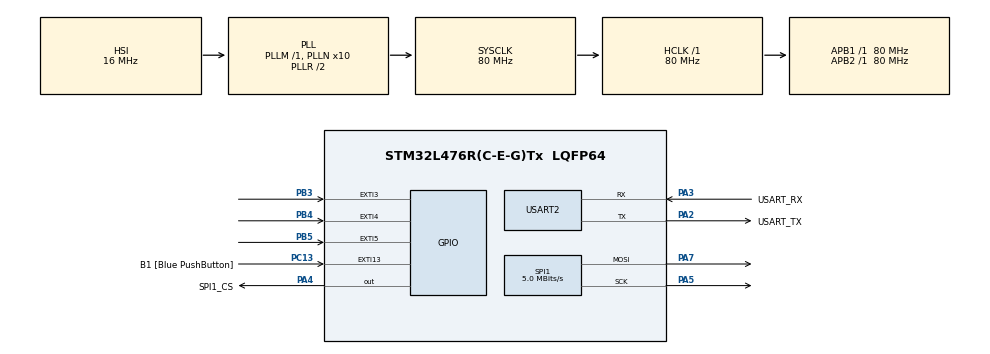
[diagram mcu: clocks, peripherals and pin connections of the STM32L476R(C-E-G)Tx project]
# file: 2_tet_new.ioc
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FREERTOS.Tasks01=defaultTask,24,128,StartDefaultTask,Default,NULL,Dynamic,NULL,NULL
FREERTOS.configTOTAL_HEAP_SIZE=32000
Mcu.Family=STM32L4
Mcu.Name=STM32L476R(C-E-G)Tx
Mcu.Package=LQFP64
NVIC.EXTI3_IRQn=true\:5\:0\:false\:false\:true\:true\:true\:false\:true
NVIC.EXTI4_IRQn=true\:5\:0\:false\:false\:true\:true\:true\:false\:true
NVIC.EXTI9_5_IRQn=true\:5\:0\:false\:false\:true\:true\:true\:false\:true
NVIC.PriorityGroup=NVIC_PRIORITYGROUP_4
NVIC.TIM7_IRQn=true\:15\:0\:false\:false\:true\:false\:false\:true\:true
NVIC.TimeBase=TIM7_IRQn
NVIC.TimeBaseIP=TIM7
PA13\ (JTMS-SWDIO).GPIO_Label=TMS
PA13\ (JTMS-SWDIO).Mode=Serial_Wire
PA13\ (JTMS-SWDIO).Signal=SYS_JTMS-SWDIO
PA14\ (JTCK-SWCLK).GPIO_Label=TCK
PA14\ (JTCK-SWCLK).Mode=Serial_Wire
PA14\ (JTCK-SWCLK).Signal=SYS_JTCK-SWCLK
PA2.GPIO_Label=USART_TX
PA2.GPIO_Mode=GPIO_MODE_AF_PP
PA2.GPIO_PuPd=GPIO_NOPULL
PA2.GPIO_Speed=GPIO_SPEED_FREQ_VERY_HIGH
PA2.Mode=Asynchronous
PA2.Signal=USART2_TX
PA3.GPIO_Label=USART_RX
PA3.GPIO_Mode=GPIO_MODE_AF_PP
PA3.GPIO_PuPd=GPIO_NOPULL
PA3.GPIO_Speed=GPIO_SPEED_FREQ_VERY_HIGH
PA3.Mode=Asynchronous
PA3.Signal=USART2_RX
PA4.GPIO_Label=SPI1_CS
PA4.Signal=GPIO_Output
PA5.Mode=TX_Only_Simplex_Unidirect_Master
PA5.Signal=SPI1_SCK
PA7.Mode=TX_Only_Simplex_Unidirect_Master
PA7.Signal=SPI1_MOSI
PB3\ (JTDO-TRACESWO).Signal=GPXTI3
PB4\ (NJTRST).Signal=GPXTI4
PB5.Signal=GPXTI5
PC13.GPIO_Label=B1 [Blue PushButton]
PC13.GPIO_ModeDefaultEXTI=GPIO_MODE_IT_FALLING
PC13.GPIO_PuPd=GPIO_NOPULL
PC13.Signal=GPXTI13
PC14-OSC32_IN\ (PC14).Mode=LSE-External-Oscillator
PC14-OSC32_IN\ (PC14).Signal=RCC_OSC32_IN
PC15-OSC32_OUT\ (PC15).Mode=LSE-External-Oscillator
PC15-OSC32_OUT\ (PC15).Signal=RCC_OSC32_OUT
PH0-OSC_IN\ (PH0).Signal=RCC_OSC_IN
PH1-OSC_OUT\ (PH1).Signal=RCC_OSC_OUT
ProjectManager.HeapSize=0x200
ProjectManager.StackSize=0x400
ProjectManager.TargetToolchain=STM32CubeIDE
RCC.ADCFreq_Value=64000000
RCC.AHBFreq_Value=80000000
RCC.APB1Freq_Value=80000000
RCC.APB1TimFreq_Value=80000000
RCC.APB2Freq_Value=80000000
RCC.APB2TimFreq_Value=80000000
RCC.CortexFreq_Value=80000000
RCC.HCLKFreq_Value=80000000
RCC.HSE_VALUE=8000000
RCC.HSI_VALUE=16000000
RCC.MSI_VALUE=4000000
RCC.PLLN=10
RCC.PLLSourceVirtual=RCC_PLLSOURCE_HSI
RCC.PREFETCH_ENABLE=1
RCC.SYSCLKFreq_VALUE=80000000
RCC.SYSCLKSource=RCC_SYSCLKSOURCE_PLLCLK
RCC.USBFreq_Value=64000000
RCC.VCOOutputFreq_Value=160000000
SPI1.BaudRatePrescaler=SPI_BAUDRATEPRESCALER_16
SPI1.CalculateBaudRate=5.0 MBits/s
SPI1.DataSize=SPI_DATASIZE_8BIT
SPI1.Direction=SPI_DIRECTION_2LINES
SPI1.Mode=SPI_MODE_MASTER
SPI1.VirtualType=VM_MASTER
USART2.VirtualMode-Asynchronous=VM_ASYNC
VP_FREERTOS_VS_CMSIS_V2.Mode=CMSIS_V2
VP_SYS_VS_tim7.Mode=TIM7
board=NUCLEO-L476RG

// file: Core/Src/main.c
/* USER CODE BEGIN Header */
/**
  ******************************************************************************
  * @file           : main.c
  * @brief          : Main program body
  ******************************************************************************
  * @attention
  *
  * Copyright (c) 2023 STMicroelectronics.
  * All rights reserved.
  *
  * This software is licensed under terms that can be found in the LICENSE file
  * in the root directory of this software component.
  * If no LICENSE file comes with this software, it is provided AS-IS.
  *
  ******************************************************************************
  */
/* USER CODE END Header */
#include "main.h"
#include "cmsis_os.h"

/* USER CODE BEGIN Includes */
#include "semphr.h"
#include <stdbool.h>
#include <max7219.h>
#include <max7219_matrix.h>
/* USER CODE END Includes */

SPI_HandleTypeDef hspi1;

UART_HandleTypeDef huart2;

/* Definitions for defaultTask */
osThreadId_t defaultTaskHandle;
const osThreadAttr_t defaultTask_attributes = {
  .name = "defaultTask",
  .stack_size = 128 * 4,
  .priority = (osPriority_t) osPriorityNormal,
};
/* USER CODE BEGIN PV */
SemaphoreHandle_t buttonA, buttonB, buttonC, displayUsartSem, initializeBoardSem, newBlockSem, checkRowsSem, lostSem, displaySPISem;
QueueHandle_t feld, position;
/* USER CODE END PV */

void SystemClock_Config(void);
static void MX_GPIO_Init(void);
static void MX_USART2_UART_Init(void);
static void MX_SPI1_Init(void);
void StartDefaultTask(void *argument);

/* USER CODE BEGIN PFP */
void TaskMoveRight( void *pvParameters );
void TaskMoveLeft( void *pvParameters );
void TaskMoveDown( void *pvParameters );
void TaskPeriodical( void *pvParameters );
void TaskDisplayUsart( void *pvParameters );
void TaskInitializeBoard( void *pvParameters );
void TaskNewBlock( void *pvParameters );
void TaskCheckRow( void *pvParameters );
void TaskLost( void *pvParameters );
void TaskLowerBlock( void *pvParameters );
void TaskDisplaySPI( void *pvParameters );
/* USER CODE END PFP */

int main(void)
{

  /* MCU Configuration--------------------------------------------------------*/

  /* Reset of all peripherals, Initializes the Flash interface and the Systick. */
  HAL_Init();

  /* Configure the system clock */
  SystemClock_Config();

  /* Initialize all configured peripherals */
  MX_GPIO_Init();
  MX_USART2_UART_Init();
  MX_SPI1_Init();

  /* Init scheduler */
  osKernelInitialize();

  /* USER CODE BEGIN RTOS_MUTEX */
  /* add mutexes, ... */
  buttonA = xSemaphoreCreateBinary();
  buttonB = xSemaphoreCreateBinary();
  buttonC = xSemaphoreCreateBinary();
  displayUsartSem = xSemaphoreCreateBinary();
  initializeBoardSem = xSemaphoreCreateBinary();
  newBlockSem = xSemaphoreCreateBinary();
  checkRowsSem = xSemaphoreCreateBinary();
  lostSem = xSemaphoreCreateBinary();
  displaySPISem = xSemaphoreCreateBinary();

  /* USER CODE END RTOS_MUTEX */

  /* USER CODE BEGIN RTOS_QUEUES */
  /* add queues, ... */
  feld = xQueueCreate(1, sizeof(int) *8 *8);
  position = xQueueCreate(1, sizeof(int) *2);

  /* USER CODE END RTOS_QUEUES */

  /* Create the thread(s) */
  /* creation of defaultTask */
  defaultTaskHandle = osThreadNew(StartDefaultTask, NULL, &defaultTask_attributes);

  /* USER CODE BEGIN RTOS_THREADS */
  /* add threads, ... */
  xTaskCreate(TaskMoveRight, "TaskMoveRight", configMINIMAL_STACK_SIZE, NULL, 1, NULL );
  xTaskCreate(TaskMoveLeft, "TaskMoveLeft", configMINIMAL_STACK_SIZE, NULL, 1, NULL );
  xTaskCreate(TaskMoveDown, "TaskMoveDown", configMINIMAL_STACK_SIZE, NULL, 1, NULL );
  xTaskCreate(TaskPeriodical, "TaskPeriodical", configMINIMAL_STACK_SIZE, NULL, 1, NULL );
  xTaskCreate(TaskDisplayUsart, "TaskDisplayUsart", configMINIMAL_STACK_SIZE, NULL, 1, NULL );
  xTaskCreate(TaskInitializeBoard, "TaskInitializeBoard", configMINIMAL_STACK_SIZE, NULL, 1, NULL );
  xTaskCreate(TaskNewBlock, "TaskNewBlock", configMINIMAL_STACK_SIZE, NULL, 1, NULL );
  xTaskCreate(TaskCheckRow, "TaskCheckRow", configMINIMAL_STACK_SIZE, NULL, 4, NULL );
  xTaskCreate(TaskLost, "TaskLost", configMINIMAL_STACK_SIZE, NULL, 1, NULL );
  //xTaskCreate(TaskLowerBlock, "TaskLowerBlock", configMINIMAL_STACK_SIZE, NULL, 8, NULL );
  xTaskCreate(TaskDisplaySPI, "TaskDisplaySPI", configMINIMAL_STACK_SIZE, NULL, 1, NULL );
  /* USER CODE END RTOS_THREADS */

  /* USER CODE BEGIN RTOS_EVENTS */
  /* add events, ... */
  xSemaphoreGive(initializeBoardSem);
  /* USER CODE END RTOS_EVENTS */

  /* Start scheduler */
  osKernelStart();

  /* We should never get here as control is now taken by the scheduler */
  /* Infinite loop */
  while (1)
  {

  }
}

void SystemClock_Config(void)
{
  RCC_OscInitTypeDef RCC_OscInitStruct = {0};
  RCC_ClkInitTypeDef RCC_ClkInitStruct = {0};

  /** Configure the main internal regulator output voltage
  */
  if (HAL_PWREx_ControlVoltageScaling(PWR_REGULATOR_VOLTAGE_SCALE1) != HAL_OK)
  {
    Error_Handler();
  }

  /** Initializes the RCC Oscillators according to the specified parameters
  * in the RCC_OscInitTypeDef structure.
  */
  RCC_OscInitStruct.OscillatorType = RCC_OSCILLATORTYPE_HSI;
  RCC_OscInitStruct.HSIState = RCC_HSI_ON;
  RCC_OscInitStruct.HSICalibrationValue = RCC_HSICALIBRATION_DEFAULT;
  RCC_OscInitStruct.PLL.PLLState = RCC_PLL_ON;
  RCC_OscInitStruct.PLL.PLLSource = RCC_PLLSOURCE_HSI;
  RCC_OscInitStruct.PLL.PLLM = 1;
  RCC_OscInitStruct.PLL.PLLN = 10;
  RCC_OscInitStruct.PLL.PLLP = RCC_PLLP_DIV7;
  RCC_OscInitStruct.PLL.PLLQ = RCC_PLLQ_DIV2;
  RCC_OscInitStruct.PLL.PLLR = RCC_PLLR_DIV2;
  if (HAL_RCC_OscConfig(&RCC_OscInitStruct) != HAL_OK)
  {
    Error_Handler();
  }

  /** Initializes the CPU, AHB and APB buses clocks
  */
  RCC_ClkInitStruct.ClockType = RCC_CLOCKTYPE_HCLK|RCC_CLOCKTYPE_SYSCLK
                              |RCC_CLOCKTYPE_PCLK1|RCC_CLOCKTYPE_PCLK2;
  RCC_ClkInitStruct.SYSCLKSource = RCC_SYSCLKSOURCE_PLLCLK;
  RCC_ClkInitStruct.AHBCLKDivider = RCC_SYSCLK_DIV1;
  RCC_ClkInitStruct.APB1CLKDivider = RCC_HCLK_DIV1;
  RCC_ClkInitStruct.APB2CLKDivider = RCC_HCLK_DIV1;

  if (HAL_RCC_ClockConfig(&RCC_ClkInitStruct, FLASH_LATENCY_4) != HAL_OK)
  {
    Error_Handler();
  }
}

static void MX_SPI1_Init(void)
{

  /* SPI1 parameter configuration*/
  hspi1.Instance = SPI1;
  hspi1.Init.Mode = SPI_MODE_MASTER;
  hspi1.Init.Direction = SPI_DIRECTION_2LINES;
  hspi1.Init.DataSize = SPI_DATASIZE_8BIT;
  hspi1.Init.CLKPolarity = SPI_POLARITY_LOW;
  hspi1.Init.CLKPhase = SPI_PHASE_1EDGE;
  hspi1.Init.NSS = SPI_NSS_SOFT;
  hspi1.Init.BaudRatePrescaler = SPI_BAUDRATEPRESCALER_16;
  hspi1.Init.FirstBit = SPI_FIRSTBIT_MSB;
  hspi1.Init.TIMode = SPI_TIMODE_DISABLE;
  hspi1.Init.CRCCalculation = SPI_CRCCALCULATION_DISABLE;
  hspi1.Init.CRCPolynomial = 7;
  hspi1.Init.CRCLength = SPI_CRC_LENGTH_DATASIZE;
  hspi1.Init.NSSPMode = SPI_NSS_PULSE_ENABLE;
  if (HAL_SPI_Init(&hspi1) != HAL_OK)
  {
    Error_Handler();
  }

}

static void MX_USART2_UART_Init(void)
{

  huart2.Instance = USART2;
  huart2.Init.BaudRate = 115200;
  huart2.Init.WordLength = UART_WORDLENGTH_8B;
  huart2.Init.StopBits = UART_STOPBITS_1;
  huart2.Init.Parity = UART_PARITY_NONE;
  huart2.Init.Mode = UART_MODE_TX_RX;
  huart2.Init.HwFlowCtl = UART_HWCONTROL_NONE;
  huart2.Init.OverSampling = UART_OVERSAMPLING_16;
  huart2.Init.OneBitSampling = UART_ONE_BIT_SAMPLE_DISABLE;
  huart2.AdvancedInit.AdvFeatureInit = UART_ADVFEATURE_NO_INIT;
  if (HAL_UART_Init(&huart2) != HAL_OK)
  {
    Error_Handler();
  }

}

static void MX_GPIO_Init(void)
{
  GPIO_InitTypeDef GPIO_InitStruct = {0};

  /* GPIO Ports Clock Enable */
  __HAL_RCC_GPIOC_CLK_ENABLE();
  __HAL_RCC_GPIOH_CLK_ENABLE();
  __HAL_RCC_GPIOA_CLK_ENABLE();
  __HAL_RCC_GPIOB_CLK_ENABLE();

  /*Configure GPIO pin Output Level */
  HAL_GPIO_WritePin(SPI1_CS_GPIO_Port, SPI1_CS_Pin, GPIO_PIN_RESET);

  /*Configure GPIO pin : B1_Pin */
  GPIO_InitStruct.Pin = B1_Pin;
  GPIO_InitStruct.Mode = GPIO_MODE_IT_FALLING;
  GPIO_InitStruct.Pull = GPIO_NOPULL;
  HAL_GPIO_Init(B1_GPIO_Port, &GPIO_InitStruct);

  /*Configure GPIO pin : SPI1_CS_Pin */
  GPIO_InitStruct.Pin = SPI1_CS_Pin;
  GPIO_InitStruct.Mode = GPIO_MODE_OUTPUT_PP;
  GPIO_InitStruct.Pull = GPIO_NOPULL;
  GPIO_InitStruct.Speed = GPIO_SPEED_FREQ_LOW;
  HAL_GPIO_Init(SPI1_CS_GPIO_Port, &GPIO_InitStruct);

  /*Configure GPIO pins : PB3 PB4 PB5 */
  GPIO_InitStruct.Pin = GPIO_PIN_3|GPIO_PIN_4|GPIO_PIN_5;
  GPIO_InitStruct.Mode = GPIO_MODE_IT_RISING;
  GPIO_InitStruct.Pull = GPIO_NOPULL;
  HAL_GPIO_Init(GPIOB, &GPIO_InitStruct);

  /* EXTI interrupt init*/
  HAL_NVIC_SetPriority(EXTI3_IRQn, 5, 0);
  HAL_NVIC_EnableIRQ(EXTI3_IRQn);

  HAL_NVIC_SetPriority(EXTI4_IRQn, 5, 0);
  HAL_NVIC_EnableIRQ(EXTI4_IRQn);

  HAL_NVIC_SetPriority(EXTI9_5_IRQn, 5, 0);
  HAL_NVIC_EnableIRQ(EXTI9_5_IRQn);

}

/* USER CODE BEGIN 4 */

void TaskPeriodical( void * pvParameters )
{
	char x = '_';
    for(;;)
    {
			HAL_UART_Transmit(&huart2, &x, sizeof(x), HAL_MAX_DELAY);
			HAL_Delay(100);
    }
}
//_________________________________________________________
void TaskLowerBlock( void * pvParameters )
{
	int display[8][8];
	int positionXY[2];
	int xAchse;
	int yAchse;
	char x = '+';
    for(;;)
    {
    	xQueueReceive( position, &positionXY, ( TickType_t ) 10 );
    	xQueueReceive( feld, &display, ( TickType_t ) 10 );
    	xAchse = positionXY[0];
    	yAchse = positionXY[1];

    	if(display[yAchse+1][xAchse] == 0 && display[yAchse+1][xAchse+1] == 0){

    		display[yAchse+1][xAchse] = 1;
    		display[yAchse+1][xAchse+1] = 1;
    		display[yAchse-1][xAchse] = 0;
    		display[yAchse-1][xAchse+1] = 0;
    		positionXY[0] = xAchse;
    		positionXY[1] = yAchse+1;

    		xQueueSend( feld, ( void * ) &display,  1 );
    		xQueueSend( position, ( void * ) &positionXY,  1 );
    		xSemaphoreGive(displayUsartSem);
    	}
    	else{
    		xQueueSend( feld, ( void * ) &display,  1 );
    		xQueueSend( position, ( void * ) &positionXY,  1 );
    		xSemaphoreGive(checkRowsSem);
    	}

		vTaskDelay(1000);
    }
}
//_________________________________________________________
void TaskInitializeBoard( void * pvParameters )
{
	int display[8][8] = {
			{0,0,0,1,1,0,0,0},
			{0,0,0,1,1,0,0,0},
			{0,0,0,0,0,0,0,0},
			{0,0,0,0,0,0,0,0},
			{0,0,0,0,0,0,0,0},
			{0,0,0,0,0,0,0,0},
			{0,0,0,0,0,0,0,0},
			{0,0,0,0,0,0,0,0}
	};
	int positionXY[] = {3,1};
    for(;;)
    {
		if(xSemaphoreTake(initializeBoardSem, (TickType_t)portMAX_DELAY)== pdTRUE)
		{
			xQueueSend( feld, ( void * ) &display,  1 );
			xQueueSend( position, ( void * ) &positionXY,  1 );
		}

    }
}
//_________________________________________________________
void TaskNewBlock( void * pvParameters )
{
	int display[8][8];
	int positionXY[] = {3,1};
    for(;;)
    {
		if(xSemaphoreTake(newBlockSem, (TickType_t)portMAX_DELAY)== pdTRUE)
		{
			xQueueReceive( position, &positionXY, ( TickType_t ) 10 );
			xQueueReceive( feld, &display, ( TickType_t ) 10 );

			//if enough space to put new block
			if(display[2][3]==0 && display[2][4]==0){
				display[0][3] =1;
				display[0][4] =1;
				display[1][3] =1;
				display[1][4] =1;

				xQueueSend( feld, ( void * ) &display,  1 );
				xQueueSend( position, ( void * ) &positionXY,  1 );
				xSemaphoreGive(displayUsartSem);
			}
			else{
				//if not create new initial board
				//xSemaphoreGive(lostSem);
				xSemaphoreGive(initializeBoardSem);
			}
		}

    }
}
//_________________________________________________________
void TaskLost( void * pvParameters )
{
	int display[8][8];
    for(;;)
    {
		if(xSemaphoreTake(lostSem, (TickType_t)portMAX_DELAY)== pdTRUE)
		{
			xQueueReceive( feld, &display, ( TickType_t ) 10 );

			for(int i = 0; i <8; i++){
				for(int j = 0; j <8; j++){
					display[i][j]=1;
				}

			}
			xQueueSend( feld, ( void * ) &display,  1 );
			vTaskDelay(500);
			xSemaphoreGive(displayUsartSem);
			vTaskDelay(500);
			xQueueReceive( feld, &display, ( TickType_t ) 10 );

			for(int i = 0; i <8; i++){
				for(int j = 0; j <8; j++){
					display[i][j]=0;
				}

			}
			xQueueSend( feld, ( void * ) &display,  1 );
			vTaskDelay(500);
			xSemaphoreGive(displayUsartSem);
			vTaskDelay(500);
			xQueueReceive( feld, &display, ( TickType_t ) 10 );

			for(int i = 0; i <8; i++){
				for(int j = 0; j <8; j++){
					display[i][j]=1;
				}

			}
			xQueueSend( feld, ( void * ) &display,  1 );
			vTaskDelay(500);
			xSemaphoreGive(displayUsartSem);
			vTaskDelay(500);
			xQueueReceive( feld, &display, ( TickType_t ) 10 );

			for(int i = 0; i <8; i++){
				for(int j = 0; j <8; j++){
					display[i][j]=0;
				}

			}
			xQueueSend( feld, ( void * ) &display,  1 );
			vTaskDelay(500);
			xSemaphoreGive(displayUsartSem);
			vTaskDelay(500);

			xSemaphoreGive(initializeBoardSem);

		}

    }
}
//_________________________________________________________
void TaskMoveRight( void * pvParameters )
{
	char x = 'r';
	int display[8][8];
	int positionXY[2];
	int xAchse;
	int yAchse;
    for(;;)
    {
		if(xSemaphoreTake(buttonA, (TickType_t)portMAX_DELAY)== pdTRUE)
		{
			HAL_UART_Transmit(&huart2, &x, sizeof(x), HAL_MAX_DELAY);
			xQueueReceive( position, &positionXY, ( TickType_t ) 10 );
			xQueueReceive( feld, &display, ( TickType_t ) 10 );
			xAchse = positionXY[0];
			yAchse = positionXY[1];

			// wenn nicht schon ganz rechts
			if(xAchse <6){
				HAL_UART_Transmit(&huart2, "y", sizeof(char), HAL_MAX_DELAY);
				// wenn feld neben block frei
				if(display[yAchse-1][xAchse+2]==0 && display[yAchse][xAchse+2]==0){
					HAL_UART_Transmit(&huart2, "g", sizeof(char), HAL_MAX_DELAY);
					//block an position löschen
					display[yAchse-1][xAchse]=0;
					display[yAchse][xAchse]=0;
					//block verschieben
					display[yAchse-1][xAchse+2]=1;
					display[yAchse][xAchse+2]=1;

					//update pos
					positionXY[0]=xAchse+1;
					positionXY[1]=yAchse;
				}
			}
			xQueueSend( feld, ( void * ) &display,  1 );
			xQueueSend( position, ( void * ) &positionXY,  1 );
			xSemaphoreGive(displayUsartSem);
		}

    }
}
//_________________________________________________________
void TaskMoveLeft( void * pvParameters )
{
	char x = 'l';
	int display[8][8];
	int positionXY[2];
	int xAchse;
	int yAchse;
    for(;;)
    {
		if(xSemaphoreTake(buttonB, (TickType_t)portMAX_DELAY)== pdTRUE)
		{
			HAL_UART_Transmit(&huart2, &x, sizeof(x), HAL_MAX_DELAY);
			xQueueReceive( position, &positionXY, ( TickType_t ) 10 );
			xQueueReceive( feld, &display, ( TickType_t ) 10 );
			xAchse = positionXY[0];
			yAchse = positionXY[1];

			// wenn nicht schon ganz links
			if(xAchse >0){
				//HAL_UART_Transmit(&huart2, "y", sizeof(char), HAL_MAX_DELAY);
				/*char c=xAchse+'0';
				char v=yAchse+'0';
				char u = display[yAchse-1][xAchse-1];
				char w = display[yAchse][xAchse-1];
				HAL_UART_Transmit(&huart2, &c, sizeof(char), HAL_MAX_DELAY);
				HAL_UART_Transmit(&huart2, &v, sizeof(char), HAL_MAX_DELAY);
				HAL_UART_Transmit(&huart2, "+", sizeof(char), HAL_MAX_DELAY);
				HAL_UART_Transmit(&huart2, &u, sizeof(char), HAL_MAX_DELAY);
				HAL_UART_Transmit(&huart2, &w, sizeof(char), HAL_MAX_DELAY);*/
				// wenn feld neben block frei
				if(display[yAchse-1][xAchse-1]==0 && display[yAchse][xAchse-1]==0){
					//HAL_UART_Transmit(&huart2, "g", sizeof(char), HAL_MAX_DELAY);
					//block an position löschen
					display[yAchse-1][xAchse+1]=0;
					display[yAchse][xAchse+1]=0;
					//block verschieben
					display[yAchse-1][xAchse-1]=1;
					display[yAchse][xAchse-1]=1;

					//update position
					positionXY[0]=xAchse-1;
					positionXY[1]=yAchse;
				}
			}
			xQueueSend( feld, ( void * ) &display,  1 );
			xQueueSend( position, ( void * ) &positionXY,  1 );
			xSemaphoreGive(displayUsartSem);
		}

    }
}
//_________________________________________________________
void TaskMoveDown( void * pvParameters )
{
	char x = 'd';
	int display[8][8];
	int positionXY[2];
	int xAchse;
	int yAchse;
	int lowest;

    for(;;)
    {
		if(xSemaphoreTake(buttonC, (TickType_t)portMAX_DELAY)== pdTRUE)
		{
			xQueueReceive( position, &positionXY, ( TickType_t ) 10 );
			xQueueReceive( feld, &display, ( TickType_t ) 10 );
			xAchse = positionXY[0];
			yAchse = positionXY[1];

			//find lowest free space
			int counter =1;
			lowest = yAchse;
			for(int i = yAchse; i <= 7; i++){
				if(display[yAchse+counter][xAchse] == 0 && display[yAchse+counter][xAchse+1] == 0){
					lowest = i;
				}
				else if(display[yAchse+counter][xAchse] == 1 && display[yAchse+counter][xAchse+1] == 1){
					break;
				}
				counter++;
			}

			char y=yAchse+'0';
			char v=lowest+'0';
			//HAL_UART_Transmit(&huart2, &x, sizeof(x), HAL_MAX_DELAY);
			//HAL_UART_Transmit(&huart2, &v, sizeof(x), HAL_MAX_DELAY);
			//HAL_UART_Transmit(&huart2, "+", sizeof(x), HAL_MAX_DELAY);
			//HAL_UART_Transmit(&huart2,&y , sizeof(y), HAL_MAX_DELAY);

			lowest++;
			//set block to lowest possible point
			display[lowest][xAchse]=1;
			display[lowest][xAchse+1]=1;
			display[lowest-1][xAchse]=1;
			display[lowest-1][xAchse+1]=1;

			if(lowest-1 != yAchse){
				//remove old block
				display[yAchse][xAchse]=0;
				display[yAchse][xAchse+1]=0;
				display[yAchse-1][xAchse]=0;
				display[yAchse-1][xAchse+1]=0;
			}
			xQueueSend( feld, ( void * ) &display,  1 );
			positionXY[0]=xAchse;
			positionXY[1]=lowest;
			xQueueSend( position, ( void * ) &positionXY,  1 );

			//xSemaphoreGive(displayUsartSem);
			//vTaskDelay(400);
			xSemaphoreGive(checkRowsSem);
			//vTaskDelay(200);
			//xSemaphoreGive(newBlockSem);
		}

    }
}
//_________________________________________________________
void TaskCheckRow( void * pvParameters ){
	int display[8][8];
	int positionXY[2];
	int xAchse;
	int yAchse;
	bool allOnes = true;

    for(;;)
    {
    	if(xSemaphoreTake(checkRowsSem, (TickType_t)portMAX_DELAY)== pdTRUE)
    	{
			xQueueReceive( position, &positionXY, ( TickType_t ) 10 );
			xQueueReceive( feld, &display, ( TickType_t ) 10 );
			xAchse = positionXY[0];
			yAchse = positionXY[1];
			allOnes = true;
			for(int i =0; i<8; i++){
				if (display[yAchse][i] == 0){
					allOnes = false;
				}
			}
			if(allOnes){
				for(int i =0; i<8; i++){
					display[yAchse][i]=0;
				}
			}

			allOnes = true;
			for(int i =0; i<8; i++){
				if (display[yAchse-1][i] == 0){
					allOnes = false;
				}
			}
			if(allOnes){
				for(int i =0; i<8; i++){
					display[yAchse-1][i]=0;
				}
			}

			//test
			if(allOnes){
				for(int i = yAchse; i > 0; i-- ){
					for(int j =0; j<8;j++){
						display[i][j]=display[i-2][j];
					}
				}

				for(int i = 0; i<8;i++){
					display[0][i] =0;
					display[1][i] =0;
				}
			}
			//test ende

			xQueueSend( feld, ( void * ) &display,  1 );
			positionXY[0]=3;
			positionXY[1]=1;
			xQueueSend( position, ( void * ) &positionXY,  1 );
			xSemaphoreGive(displayUsartSem);
			vTaskDelay(400);
			xSemaphoreGive(newBlockSem);

    	}
    }
}
//_________________________________________________________
void TaskDisplayUsart( void * pvParameters ){
	int display[8][8];
    for(;;)
    {
		if(xSemaphoreTake(displayUsartSem, (TickType_t)portMAX_DELAY)== pdTRUE)
		{
			xQueueReceive( feld, &display, ( TickType_t ) 10 );

			HAL_UART_Transmit(&huart2, "\n", sizeof(char), HAL_MAX_DELAY);
			HAL_UART_Transmit(&huart2, "\r", sizeof(char), HAL_MAX_DELAY);

			for(int i = 0; i <8; i++){
				for(int j = 0; j <8; j++){
					char c=display[i][j]+'0';
					HAL_UART_Transmit(&huart2, &c, sizeof(char), HAL_MAX_DELAY);
					HAL_UART_Transmit(&huart2, " ", sizeof(char), HAL_MAX_DELAY);
				}
				HAL_UART_Transmit(&huart2, "\n", sizeof(char), HAL_MAX_DELAY);
				HAL_UART_Transmit(&huart2, "\r", sizeof(char), HAL_MAX_DELAY);
			}
			xQueueSend( feld, ( void * ) &display,  1 );
			//xSemaphoreGive(displaySPISem);
		}

    }
}
//_________________________________________________________
void TaskDisplaySPI( void * pvParameters ){
	int display[8][8];
    for(;;)
    {
		if(xSemaphoreTake(displaySPISem, (TickType_t)portMAX_DELAY)== pdTRUE)
		{
			xQueueReceive( feld, &display, ( TickType_t ) 10 );
			//MAX7219_paintPoints(0, display);
			HAL_UART_Transmit(&huart2, "l", sizeof(char), HAL_MAX_DELAY);
			MAX7219_MatrixSetRow64(0, CHR('A'));
			MAX7219_MatrixUpdate();
			xQueueSend( feld, ( void * ) &display,  1 );
		}

    }
}
//_________________________________________________________
void EXTI3_IRQHandler(void)
{
	BaseType_t xHigherPriorityTaskWoken;
	xHigherPriorityTaskWoken = pdFALSE;
	xSemaphoreGiveFromISR(buttonA,  &xHigherPriorityTaskWoken);
	portYIELD_FROM_ISR( xHigherPriorityTaskWoken );
	__HAL_GPIO_EXTI_CLEAR_IT(GPIO_PIN_3);
}
//_________________________________________________________
void EXTI4_IRQHandler(void)
{
	BaseType_t xHigherPriorityTaskWoken;
	xHigherPriorityTaskWoken = pdFALSE;
	xSemaphoreGiveFromISR(buttonB,  &xHigherPriorityTaskWoken);
	portYIELD_FROM_ISR( xHigherPriorityTaskWoken );
	__HAL_GPIO_EXTI_CLEAR_IT(GPIO_PIN_4);
}
//_________________________________________________________
void EXTI9_5_IRQHandler(void)
{
	BaseType_t xHigherPriorityTaskWoken;
	xHigherPriorityTaskWoken = pdFALSE;
	xSemaphoreGiveFromISR(buttonC,  &xHigherPriorityTaskWoken);
	portYIELD_FROM_ISR( xHigherPriorityTaskWoken );
	__HAL_GPIO_EXTI_CLEAR_IT(GPIO_PIN_5);
}
//_________________________________________________________
/* USER CODE END 4 */

void StartDefaultTask(void *argument)
{
  for(;;)
  {
    osDelay(1);
  }
}

void HAL_TIM_PeriodElapsedCallback(TIM_HandleTypeDef *htim)
{
  if (htim->Instance == TIM7) {
    HAL_IncTick();
  }
}

void Error_Handler(void)
{
  __disable_irq();
  while (1)
  {
  }
}
